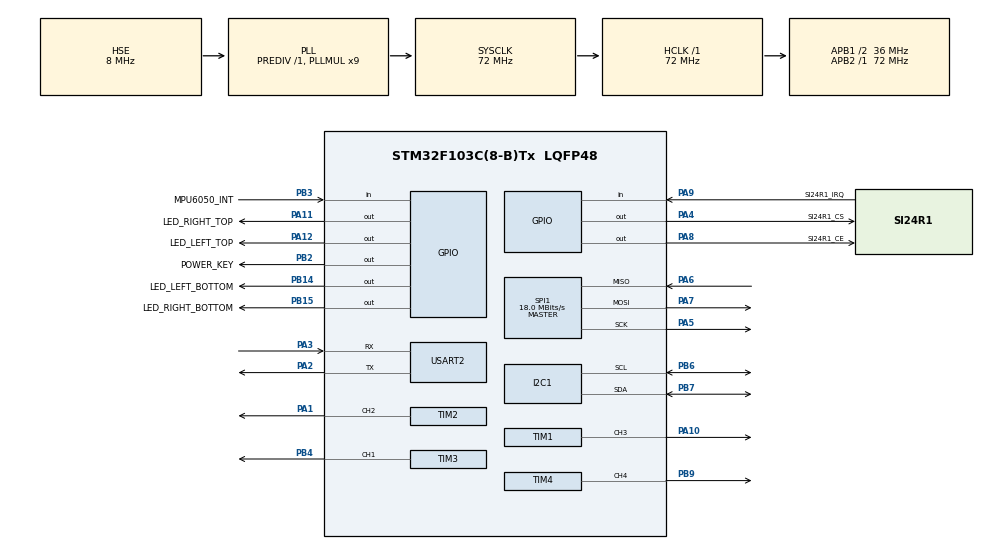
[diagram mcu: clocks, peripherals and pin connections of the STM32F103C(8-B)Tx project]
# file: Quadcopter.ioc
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FREERTOS.Tasks01=defaultTask,24,128,StartDefaultTask,Default,NULL,Dynamic,NULL,NULL
FREERTOS.configTOTAL_HEAP_SIZE=8*1024
I2C1.I2C_Mode=I2C_Fast
Mcu.Family=STM32F1
Mcu.Name=STM32F103C(8-B)Tx
Mcu.Package=LQFP48
NVIC.PriorityGroup=NVIC_PRIORITYGROUP_4
PA1.Signal=S_TIM2_CH2
PA10.Signal=S_TIM1_CH3
PA11.GPIO_Label=LED_RIGHT_TOP
PA11.Signal=GPIO_Output
PA12.GPIO_Label=LED_LEFT_TOP
PA12.Signal=GPIO_Output
PA13.Mode=Serial_Wire
PA13.Signal=SYS_JTMS-SWDIO
PA14.Mode=Serial_Wire
PA14.Signal=SYS_JTCK-SWCLK
PA2.Mode=Asynchronous
PA2.Signal=USART2_TX
PA3.Mode=Asynchronous
PA3.Signal=USART2_RX
PA4.GPIO_Label=SI24R1_CS
PA4.PinState=GPIO_PIN_SET
PA4.Signal=GPIO_Output
PA5.Mode=Full_Duplex_Master
PA5.Signal=SPI1_SCK
PA6.Mode=Full_Duplex_Master
PA6.Signal=SPI1_MISO
PA7.Mode=Full_Duplex_Master
PA7.Signal=SPI1_MOSI
PA8.GPIO_Label=SI24R1_CE
PA8.PinState=GPIO_PIN_SET
PA8.Signal=GPIO_Output
PA9.GPIO_Label=SI24R1_IRQ
PA9.GPIO_PuPd=GPIO_PULLUP
PA9.Signal=GPIO_Input
PB14.GPIO_Label=LED_LEFT_BOTTOM
PB14.Signal=GPIO_Output
PB15.GPIO_Label=LED_RIGHT_BOTTOM
PB15.Signal=GPIO_Output
PB2.GPIO_Label=POWER_KEY
PB2.GPIO_ModeDefaultOutputPP=GPIO_MODE_OUTPUT_OD
PB2.GPIO_PuPd=GPIO_NOPULL
PB2.PinState=GPIO_PIN_SET
PB2.Signal=GPIO_Output
PB3.GPIO_Label=MPU6050_INT
PB3.GPIO_PuPd=GPIO_PULLDOWN
PB3.Signal=GPIO_Input
PB4.Signal=S_TIM3_CH1
PB6.Mode=I2C
PB6.Signal=I2C1_SCL
PB7.Mode=I2C
PB7.Signal=I2C1_SDA
PB9.Signal=S_TIM4_CH4
PC14-OSC32_IN.Mode=LSE-External-Oscillator
PC14-OSC32_IN.Signal=RCC_OSC32_IN
PC15-OSC32_OUT.Mode=LSE-External-Oscillator
PC15-OSC32_OUT.Signal=RCC_OSC32_OUT
PD0-OSC_IN.Mode=HSE-External-Oscillator
PD0-OSC_IN.Signal=RCC_OSC_IN
PD1-OSC_OUT.Mode=HSE-External-Oscillator
PD1-OSC_OUT.Signal=RCC_OSC_OUT
ProjectManager.HeapSize=0x200
ProjectManager.StackSize=0x800
ProjectManager.TargetToolchain=CMake
RCC.AHBFreq_Value=72000000
RCC.APB1CLKDivider=RCC_HCLK_DIV2
RCC.APB1Freq_Value=36000000
RCC.APB1TimFreq_Value=72000000
RCC.APB2Freq_Value=72000000
RCC.APB2TimFreq_Value=72000000
RCC.HCLKFreq_Value=72000000
RCC.PLLMUL=RCC_PLL_MUL9
RCC.PLLSourceVirtual=RCC_PLLSOURCE_HSE
RCC.SYSCLKFreq_VALUE=72000000
RCC.SYSCLKSource=RCC_SYSCLKSOURCE_PLLCLK
RCC.USBFreq_Value=72000000
SH.S_TIM1_CH3.0=TIM1_CH3,PWM Generation3 CH3
SH.S_TIM2_CH2.0=TIM2_CH2,PWM Generation2 CH2
SH.S_TIM3_CH1.0=TIM3_CH1,PWM Generation1 CH1
SH.S_TIM4_CH4.0=TIM4_CH4,PWM Generation4 CH4
SPI1.BaudRatePrescaler=SPI_BAUDRATEPRESCALER_4
SPI1.CalculateBaudRate=18.0 MBits/s
SPI1.Direction=SPI_DIRECTION_2LINES
SPI1.Mode=SPI_MODE_MASTER
SPI1.VirtualType=VM_MASTER
TIM1.Channel-PWM\ Generation3\ CH3=TIM_CHANNEL_3
TIM1.OCFastMode_PWM-PWM\ Generation3\ CH3=TIM_OCFAST_ENABLE
TIM1.Period=1000-1
TIM1.Prescaler=4-1
TIM2.Channel-PWM\ Generation2\ CH2=TIM_CHANNEL_2
TIM2.OCFastMode_PWM-PWM\ Generation2\ CH2=TIM_OCFAST_ENABLE
TIM2.Period=1000-1
TIM2.Prescaler=4-1
TIM3.Channel-PWM\ Generation1\ CH1=TIM_CHANNEL_1
TIM3.OCFastMode_PWM-PWM\ Generation1\ CH1=TIM_OCFAST_ENABLE
TIM3.Period=1000-1
TIM3.Prescaler=4-1
TIM4.Channel-PWM\ Generation4\ CH4=TIM_CHANNEL_4
TIM4.OCFastMode_PWM-PWM\ Generation4\ CH4=TIM_OCFAST_ENABLE
TIM4.Period=1000-1
TIM4.Prescaler=4-1
USART2.VirtualMode=VM_ASYNC
VP_FREERTOS_VS_CMSIS_V2.Mode=CMSIS_V2
VP_TIM1_VS_ClockSourceINT.Mode=Internal
VP_TIM2_VS_ClockSourceINT.Mode=Internal
VP_TIM3_VS_ClockSourceINT.Mode=Internal
VP_TIM4_VS_ClockSourceINT.Mode=Internal
board=custom

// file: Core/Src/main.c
/* USER CODE BEGIN Header */
/**
  ******************************************************************************
  * @file           : main.c
  * @brief          : Main program body
  ******************************************************************************
  * @attention
  *
  * Copyright (c) 2025 STMicroelectronics.
  * All rights reserved.
  *
  * This software is licensed under terms that can be found in the LICENSE file
  * in the root directory of this software component.
  * If no LICENSE file comes with this software, it is provided AS-IS.
  *
  ******************************************************************************
  */
/* USER CODE END Header */
#include "main.h"
#include "cmsis_os.h"
#include "i2c.h"
#include "spi.h"
#include "tim.h"
#include "usart.h"
#include "gpio.h"

/* USER CODE BEGIN Includes */
#include "Com_Debug.h"
/* USER CODE END Includes */

void SystemClock_Config(void);
void MX_FREERTOS_Init(void);

int main(void)
{

  /* MCU Configuration--------------------------------------------------------*/

  /* Reset of all peripherals, Initializes the Flash interface and the Systick. */
  HAL_Init();

  /* Configure the system clock */
  SystemClock_Config();

  /* Initialize all configured peripherals */
  MX_GPIO_Init();
  MX_USART2_UART_Init();
  MX_TIM1_Init();
  MX_TIM2_Init();
  MX_TIM3_Init();
  MX_TIM4_Init();
  MX_SPI1_Init();
  MX_I2C1_Init();

  /* Init scheduler */
  osKernelInitialize();

  /* Call init function for freertos objects (in cmsis_os2.c) */
  MX_FREERTOS_Init();

  /* Start scheduler */
  osKernelStart();

  /* We should never get here as control is now taken by the scheduler */

  /* Infinite loop */
  /* USER CODE BEGIN WHILE */
  // App_Task_FreeRTOSStart();
  while (1)
  {
    /* USER CODE END WHILE */

  }
}

void SystemClock_Config(void)
{
  RCC_OscInitTypeDef RCC_OscInitStruct = {0};
  RCC_ClkInitTypeDef RCC_ClkInitStruct = {0};

  /** Initializes the RCC Oscillators according to the specified parameters
  * in the RCC_OscInitTypeDef structure.
  */
  RCC_OscInitStruct.OscillatorType = RCC_OSCILLATORTYPE_HSE;
  RCC_OscInitStruct.HSEState = RCC_HSE_ON;
  RCC_OscInitStruct.HSEPredivValue = RCC_HSE_PREDIV_DIV1;
  RCC_OscInitStruct.HSIState = RCC_HSI_ON;
  RCC_OscInitStruct.PLL.PLLState = RCC_PLL_ON;
  RCC_OscInitStruct.PLL.PLLSource = RCC_PLLSOURCE_HSE;
  RCC_OscInitStruct.PLL.PLLMUL = RCC_PLL_MUL9;
  if (HAL_RCC_OscConfig(&RCC_OscInitStruct) != HAL_OK)
  {
    Error_Handler();
  }

  /** Initializes the CPU, AHB and APB buses clocks
  */
  RCC_ClkInitStruct.ClockType = RCC_CLOCKTYPE_HCLK|RCC_CLOCKTYPE_SYSCLK
                              |RCC_CLOCKTYPE_PCLK1|RCC_CLOCKTYPE_PCLK2;
  RCC_ClkInitStruct.SYSCLKSource = RCC_SYSCLKSOURCE_PLLCLK;
  RCC_ClkInitStruct.AHBCLKDivider = RCC_SYSCLK_DIV1;
  RCC_ClkInitStruct.APB1CLKDivider = RCC_HCLK_DIV2;
  RCC_ClkInitStruct.APB2CLKDivider = RCC_HCLK_DIV1;

  if (HAL_RCC_ClockConfig(&RCC_ClkInitStruct, FLASH_LATENCY_2) != HAL_OK)
  {
    Error_Handler();
  }
}

void Error_Handler(void)
{
  __disable_irq();
  while (1)
  {
  }
}

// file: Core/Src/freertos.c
/* USER CODE BEGIN Header */
/**
  ******************************************************************************
  * File Name          : freertos.c
  * Description        : Code for freertos applications
  ******************************************************************************
  * @attention
  *
  * Copyright (c) 2025 STMicroelectronics.
  * All rights reserved.
  *
  * This software is licensed under terms that can be found in the LICENSE file
  * in the root directory of this software component.
  * If no LICENSE file comes with this software, it is provided AS-IS.
  *
  ******************************************************************************
  */
/* USER CODE END Header */

#include "FreeRTOS.h"
#include "task.h"
#include "main.h"
#include "cmsis_os.h"

/* USER CODE BEGIN Includes */
#include "Com_Debug.h"
#include "Com_Config.h"
#include "Inf_IP5305T.h"
#include "Inf_Led.h"
#include "Inf_Motor.h"
#include "Inf_SI24R1.h"
#include "Inf_MPU6050.h"

#include "App_Flight.h"
#include "App_Communication.h"
/* USER CODE END Includes */

/* USER CODE BEGIN PD */
void startTask(void *args);
#define START_TASK_NAME "start_task"
#define START_TASK_STACK 128
#define START_TASK_PRIORITY 10
TaskHandle_t startTaskHandle;

/* 电源管理任务 */
void powerTask(void *args);
#define POWER_TASK_NAME "power_task"
#define POWER_TASK_STACK 128
#define POWER_TASK_PRIORITY 9
TaskHandle_t powerTaskHandle;
#define POWER_CYCLE (10*1000) // 10s

/* led灯任务 */
void ledTask(void *args);
#define LED_TASK_NAME "led_task"
#define LED_TASK_STACK 128
#define LED_TASK_PRIORITY 2
TaskHandle_t ledTaskHandle;
#define LED_CYCLE 50 // 50ms

/* 飞行任务，控制电机 */
void flightTask(void *args);
#define FLIGHT_TASK_NAME "flight_task"
#define FLIGHT_TASK_STACK 256
#define FLIGHT_TASK_PRIORITY 8
TaskHandle_t flightTaskHandle;
#define FLIGHT_CYCLE 4

/* 通信任务，接收遥控器数据 */
void communicationTask(void *args);
#define COMMUNICATION_TASK_NAME "communication_task"
#define COMMUNICATION_TASK_STACK 256
#define COMMUNICATION_TASK_PRIORITY 8
TaskHandle_t communicationTaskHandle;
#define COMMUNICATION_CYCLE 6

/* USER CODE END PD */

/* Definitions for defaultTask */
osThreadId_t defaultTaskHandle;
const osThreadAttr_t defaultTask_attributes = {
  .name = "defaultTask",
  .stack_size = 128 * 4,
  .priority = (osPriority_t) osPriorityNormal,
};

void StartDefaultTask(void *argument);

void MX_FREERTOS_Init(void); /* (MISRA C 2004 rule 8.1) */

void MX_FREERTOS_Init(void) {
  /* USER CODE BEGIN Init */
  App_Flight_Start();
  App_Communication_Start();
  /* USER CODE END Init */

  /* Create the thread(s) */
  /* creation of defaultTask */
  // defaultTaskHandle = osThreadNew(StartDefaultTask, NULL, &defaultTask_attributes);

  /* USER CODE BEGIN RTOS_THREADS */
  /* add threads, ... */
  debug_printfln("start create start task");

  BaseType_t r = xTaskCreate(
      startTask,
      START_TASK_NAME,
      START_TASK_STACK,
      NULL,
      START_TASK_PRIORITY,
      &startTaskHandle
  );
  if (r != pdPASS) {
      debug_printfln("Failed to create start task");
  }
  /* USER CODE END RTOS_THREADS */

}

void StartDefaultTask(void *argument)
{
  /* USER CODE BEGIN StartDefaultTask */
//   /* Infinite loop */
//   for(;;)
//   {
//     osDelay(1);
//   }
  /* USER CODE END StartDefaultTask */
}

/* USER CODE BEGIN Application */

void startTask(void *args){
  debug_printfln("Start task started");
  /* 创建电源任务 */
  xTaskCreate(
      powerTask,
      POWER_TASK_NAME,
      POWER_TASK_STACK,
      NULL,
      POWER_TASK_PRIORITY,
      &powerTaskHandle
  );

  /* 创建led灯任务 */
  xTaskCreate(
      ledTask,
      LED_TASK_NAME,
      LED_TASK_STACK,
      NULL,
      LED_TASK_PRIORITY,
      &ledTaskHandle
  );

  /* 创建飞行任务 */
  xTaskCreate(
      flightTask,
      FLIGHT_TASK_NAME,
      FLIGHT_TASK_STACK,
      NULL,
      FLIGHT_TASK_PRIORITY,
      &flightTaskHandle
  );

  /* 创建通信任务 */
  xTaskCreate(
      communicationTask,
      COMMUNICATION_TASK_NAME,
      COMMUNICATION_TASK_STACK,
      NULL,
      COMMUNICATION_TASK_PRIORITY,
      &communicationTaskHandle
  );
  debug_printfln("Start task finished");

  vTaskDelete(NULL);
}

/* 电源管理任务 */
void powerTask(void *args){
  while (1)
  {
      /* 关机 */
      if (ulTaskNotifyTake(pdTRUE, POWER_CYCLE) == pdTRUE) {
          // debug_printfln("Power off");
          Inf_IP5305T_Close();
      }else{
          /* 开机 */
          debug_printfln("Power on");
          Inf_IP5305T_Open();
      }
  }
}

/* led灯任务 */
void ledTask(void *args){
  debug_printfln("Led task started");

  uint32_t preTime = xTaskGetTickCount();
  uint32_t cnt = 0;

  while (1)
  {
      /* 定高、解锁、连接 */
      if (isFixHeight == COM_OK) {
        ledLeftTop.status =
          ledLeftBottom.status =
            ledRightTop.status =
              ledRightBottom.status = 0;
      }else if (isRemoteUnlocked == COM_OK) {
        ledRightTop.status =
          ledRightBottom.status = 0;
        ledLeftTop.status =
          ledLeftBottom.status = 1;
      }else if (isRemoteConnected == COM_OK) {
        ledRightBottom.status = 0;
        ledRightTop.status =
          ledLeftBottom.status =
            ledLeftTop.status = 1;
      }else{
        ledLeftTop.status =
          ledLeftBottom.status =
            ledRightTop.status =
              ledRightBottom.status = 1;
      }

      cnt++;

      /* status小于等于1时每次都去设置灯的状态，
      * 否则每隔status个周期去设置灯的状态
      */
      if(ledLeftTop.status <=1 || cnt % ledLeftTop.status == 0){
        Inf_Led_SetStatus(&ledLeftTop);
        Inf_Led_SetStatus(&ledLeftBottom);
        Inf_Led_SetStatus(&ledRightTop);
        Inf_Led_SetStatus(&ledRightBottom);
      }

      vTaskDelayUntil(&preTime, LED_CYCLE);
  }
}

/* 飞行任务，控制电机 */
void flightTask(void *args){
  debug_printfln("Flight task started");

  uint32_t preTime = xTaskGetTickCount();
  float dt = FLIGHT_CYCLE / 1000.0f;
  while (1)
  {
    /* 6轴数据滤波 */
    App_Flight_GetGyroAccelWithFilter();

    /* 获取欧拉角 */
    App_Flight_GetEulerAngle(&gyroAndAccelData, &eulerAngle, dt);

    /* 姿态PID计算 */
    App_Flight_PIDPosture(&gyroAndAccelData, &eulerAngle, dt);

    /* 姿态PID控制电机 */
    App_Flight_MotorWithPosturePID();

    /* 电机转动 */
    App_Flight_Work();
    vTaskDelayUntil(&preTime, FLIGHT_CYCLE);
  }
}

/* 通信任务，接收遥控器数据 */
void communicationTask(void *args){
  debug_printfln("Communication task started");

  uint32_t preTime = xTaskGetTickCount();
  while (1)
  {
      /* 接收遥控器数据 */
      Com_Status isReceiveData = App_Communication_ReceiveJoyStickData();

      isRemoteConnected = App_Communication_CheckConnection(isReceiveData);

      isRemoteUnlocked = App_Communication_RemoteUnlock();

      if (isReceiveData == COM_OK) {
        if(joyStick.isPowerOff) {
          xTaskNotifyGive(powerTaskHandle);
        }
      }
      // Com_Config_PrintJoyStick("joyStick");
      /* 延时 */
      vTaskDelayUntil(&preTime, COMMUNICATION_CYCLE);
  }
}

/* USER CODE END Application */
